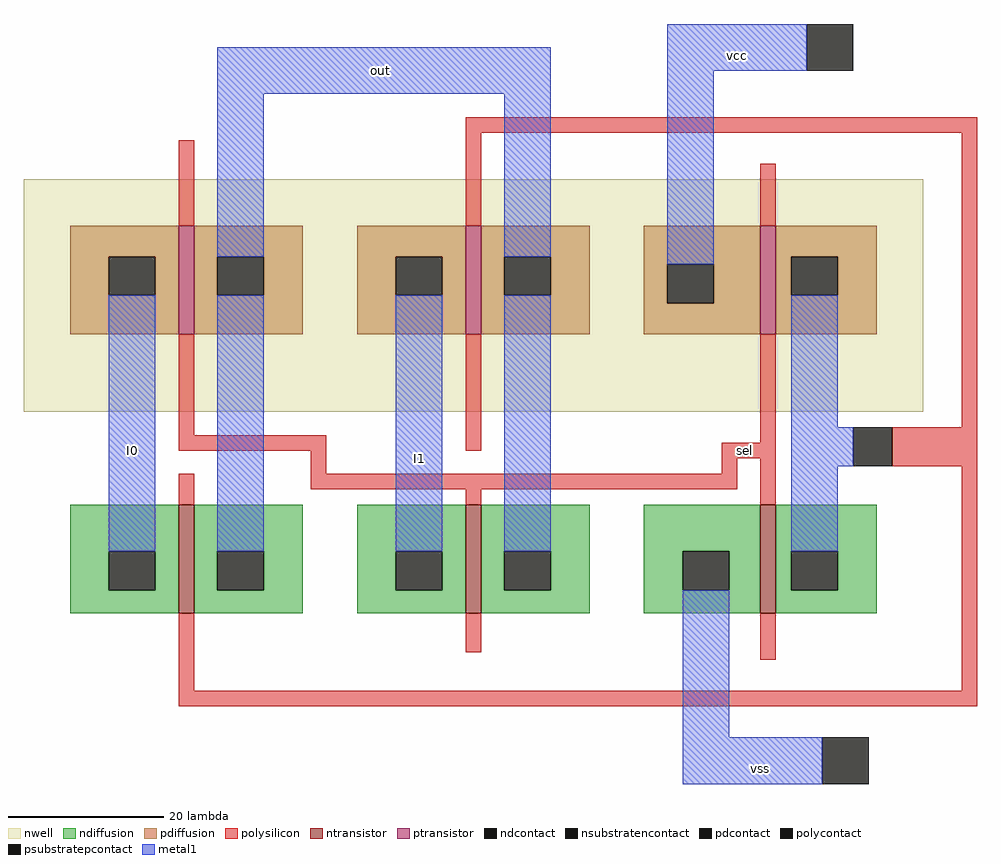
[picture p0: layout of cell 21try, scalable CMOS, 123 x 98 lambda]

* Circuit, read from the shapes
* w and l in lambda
.subckt 21try I0 I1 out sel vcc vss
M1 out n1 I0 vss nfet w=14 l=2
M2 out sel I1 vss nfet w=14 l=2
M3 n1 sel vss vss nfet w=14 l=2
M4 out sel I0 n2 pfet w=14 l=2
M5 out n1 I1 n2 pfet w=14 l=2
M6 n1 sel vcc n2 pfet w=14 l=2
.ends

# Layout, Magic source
magic
tech scmos
<< nwell >>
rect -62 5 54 35
<< ntransistor >>
rect -42 -21 -40 -7
rect -5 -21 -3 -7
rect 33 -21 35 -7
<< ptransistor >>
rect -42 15 -40 29
rect -5 15 -3 29
rect 33 15 35 29
<< ndiffusion >>
rect -56 -13 -42 -7
rect -56 -18 -51 -13
rect -45 -18 -42 -13
rect -56 -21 -42 -18
rect -40 -13 -26 -7
rect -40 -18 -37 -13
rect -31 -18 -26 -13
rect -40 -21 -26 -18
rect -19 -13 -5 -7
rect -19 -18 -14 -13
rect -8 -18 -5 -13
rect -19 -21 -5 -18
rect -3 -13 11 -7
rect -3 -18 0 -13
rect 6 -18 11 -13
rect -3 -21 11 -18
rect 18 -13 33 -7
rect 18 -18 23 -13
rect 29 -18 33 -13
rect 18 -21 33 -18
rect 35 -13 48 -7
rect 35 -18 37 -13
rect 43 -18 48 -13
rect 35 -21 48 -18
<< pdiffusion >>
rect -56 25 -42 29
rect -56 20 -51 25
rect -45 20 -42 25
rect -56 15 -42 20
rect -40 25 -26 29
rect -40 20 -37 25
rect -31 20 -26 25
rect -40 15 -26 20
rect -19 25 -5 29
rect -19 20 -14 25
rect -8 20 -5 25
rect -19 15 -5 20
rect -3 25 11 29
rect -3 20 0 25
rect 6 20 11 25
rect -3 15 11 20
rect 18 24 33 29
rect 18 19 21 24
rect 27 19 33 24
rect 18 15 33 19
rect 35 25 48 29
rect 35 20 37 25
rect 43 20 48 25
rect 35 15 48 20
<< ndcontact >>
rect -51 -18 -45 -13
rect -37 -18 -31 -13
rect -14 -18 -8 -13
rect 0 -18 6 -13
rect 23 -18 29 -13
rect 37 -18 43 -13
<< pdcontact >>
rect -51 20 -45 25
rect -37 20 -31 25
rect -14 20 -8 25
rect 0 20 6 25
rect 21 19 27 24
rect 37 20 43 25
<< psubstratepcontact >>
rect 41 -43 47 -37
<< nsubstratencontact >>
rect 39 49 45 55
<< polysilicon >>
rect -5 41 61 43
rect -42 29 -40 40
rect -5 29 -3 41
rect 33 29 35 37
rect -42 2 -40 15
rect -42 0 -23 2
rect -5 0 -3 15
rect 33 1 35 15
rect 59 3 61 41
rect -25 -3 -23 0
rect 28 -1 35 1
rect 28 -3 30 -1
rect -42 -7 -40 -3
rect -25 -5 30 -3
rect -5 -7 -3 -5
rect 33 -7 35 -1
rect 50 -2 61 3
rect -42 -31 -40 -21
rect -5 -26 -3 -21
rect 33 -27 35 -21
rect 59 -31 61 -2
rect -42 -33 61 -31
<< polycontact >>
rect 45 -2 50 3
<< metal1 >>
rect -37 46 6 52
rect -37 25 -31 46
rect 0 25 6 46
rect -51 -13 -45 20
rect -37 -13 -31 20
rect -14 -13 -8 20
rect 0 -13 6 20
rect 21 49 39 55
rect 21 24 27 49
rect 37 3 43 20
rect 37 -2 45 3
rect 37 -13 43 -2
rect 23 -37 29 -18
rect 23 -43 41 -37
<< labels >>
rlabel metal1 -48 0 -48 0 1 I0
rlabel metal1 -11 -1 -11 -1 1 I1
rlabel metal1 -16 49 -16 49 1 out
rlabel polysilicon 31 0 31 0 1 sel
rlabel metal1 30 51 30 51 5 vcc
rlabel metal1 33 -41 33 -41 1 vss
<< end >>
